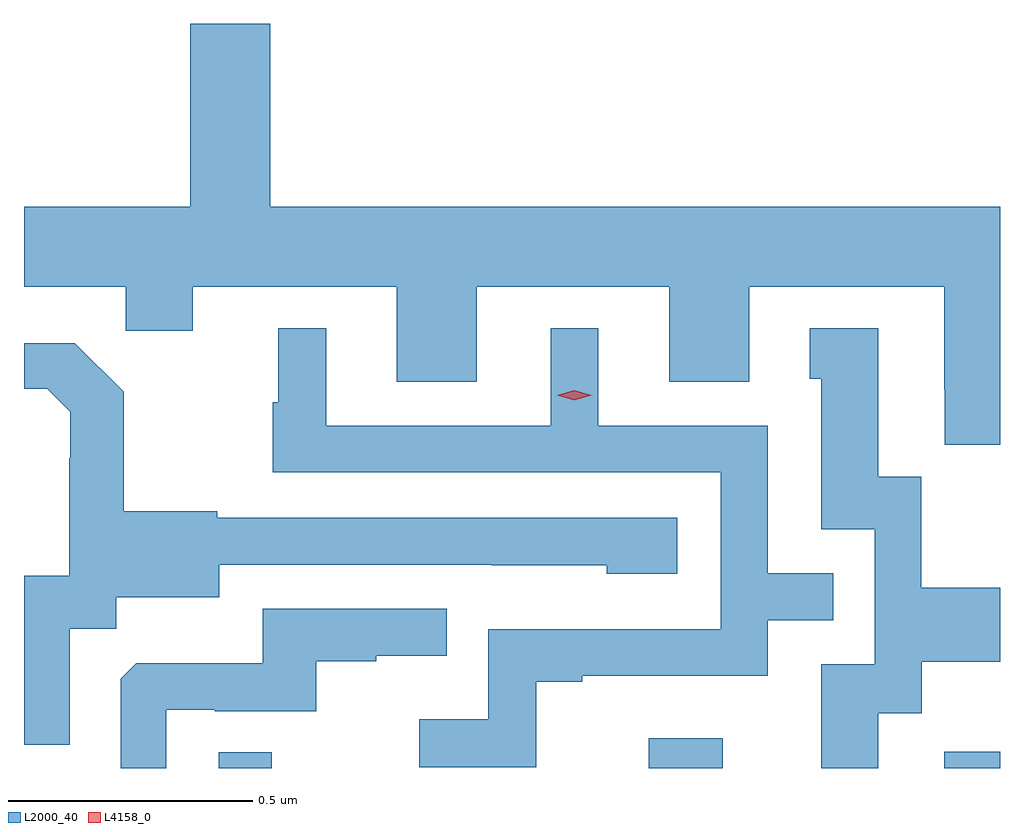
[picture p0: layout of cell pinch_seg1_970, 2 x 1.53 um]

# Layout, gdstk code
import gdstk
lib = gdstk.Library(unit=1e-6, precision=1e-09)
def R(c, l, rs):  # rectangles x0, y0, x1, y1
    for r in rs: c.add(gdstk.rectangle(r[:2], r[2:], *l))
def P(c, l, *ps):  # polygons
    for p in ps: c.add(gdstk.Polygon(p, *l))
L2000_40 = (2000, 40)
L4158_0 = (4158, 0)

pinch_seg1_970 = lib.new_cell('pinch_seg1_970')
R(pinch_seg1_970, L2000_40, [(165.066,558.738,165.175,558.77), (165.947,558.738,166.099,558.799), (166.553,558.738,166.667,558.772)])
P(pinch_seg1_970, L2000_40, [(166.667,559.888),(165.172,559.888),(165.172,560.263),(165.008,560.263),(165.008,559.888),(164.667,559.888),(164.667,559.724),(164.875,559.724),(164.875,559.634),(165.013,559.634),(165.013,559.724),(165.431,559.724),(165.431,559.53),(165.595,559.53),(165.595,559.724),(165.989,559.724),(165.989,559.53),(166.153,559.53),(166.153,559.724),(166.553,559.724),(166.553,559.513),(166.554,559.513),(166.554,559.401),(166.667,559.401)],
  [(165.717,558.915),(165.811,558.915),(165.811,558.927),(166.191,558.927),(166.191,559.041),(166.325,559.041),(166.325,559.137),(166.191,559.137),(166.191,559.44),(165.844,559.44),(165.844,559.639),(165.746,559.639),(165.746,559.44),(165.286,559.44),(165.286,559.639),(165.188,559.639),(165.188,559.488),(165.177,559.488),(165.177,559.344),(166.095,559.344),(166.095,559.023),(165.618,559.023),(165.618,558.838),(165.477,558.838),(165.477,558.74),(165.717,558.74)],
  [(166.417,558.85),(166.507,558.85),(166.507,558.956),(166.667,558.956),(166.667,559.108),(166.506,559.108),(166.506,559.335),(166.417,559.335),(166.417,559.639),(166.277,559.639),(166.277,559.536),(166.301,559.536),(166.301,559.227),(166.41,559.227),(166.41,558.951),(166.301,558.951),(166.301,558.738),(166.417,558.738)],
  [(164.761,559.024),(164.856,559.024),(164.856,559.088),(165.067,559.088),(165.067,559.155),(165.625,559.155),(165.625,559.154),(165.861,559.154),(165.861,559.136),(166.006,559.136),(166.006,559.251),(165.063,559.251),(165.063,559.264),(164.871,559.264),(164.871,559.509),(164.771,559.609),(164.667,559.609),(164.667,559.515),(164.715,559.515),(164.762,559.468),(164.762,559.373),(164.76,559.373),(164.76,559.132),(164.667,559.132),(164.667,558.786),(164.761,558.786)],
  [(164.958,558.858),(165.058,558.858),(165.058,558.855),(165.266,558.855),(165.266,558.957),(165.389,558.957),(165.389,558.968),(165.533,558.968),(165.533,559.065),(165.156,559.065),(165.156,558.953),(164.897,558.953),(164.865,558.921),(164.865,558.738),(164.958,558.738)])
P(pinch_seg1_970, L4158_0, [(165.795,559.492),(165.76,559.502),(165.759,559.502),(165.76,559.502),(165.795,559.512),(165.83,559.502),(165.831,559.502),(165.83,559.502)])

lib.write_gds('pinch_seg1_970.gds')
